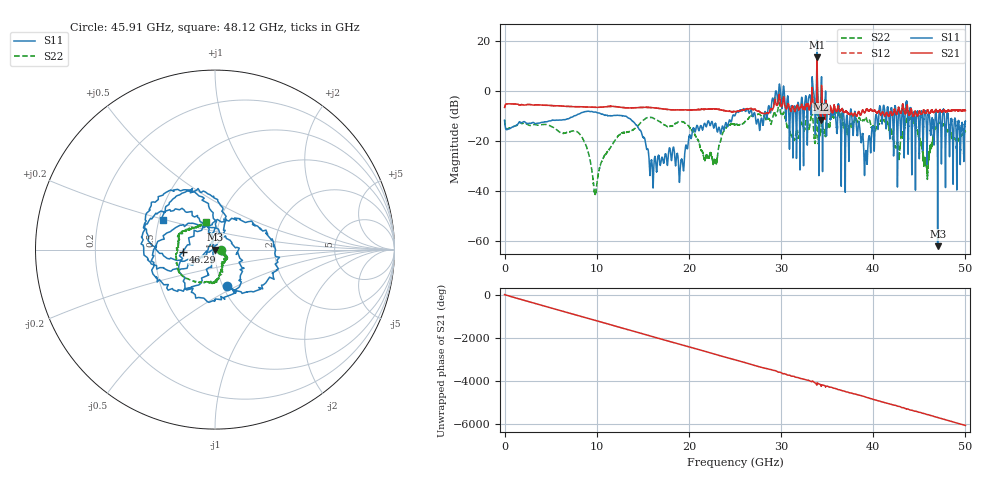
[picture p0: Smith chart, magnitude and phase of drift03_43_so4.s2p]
!Created with skrf (http://scikit-rf.org).
# Hz S RI R 50.0
!freq ReS11 ImS11 ReS21 ImS21 ReS12 ImS12 ReS22 ImS22
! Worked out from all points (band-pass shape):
!   10001 points, 300 kHz to 50 GHz, reference 50 ohm
!   highest |S21| = 13.63 dB at 33.9 GHz (marker M1); lowest = -11.4 dB at 34.32 GHz (marker M2)
!   |S21| within 3 dB of the highest: 33.89008 GHz to 33.90402 GHz (13.94 MHz wide, 0.0411 % of centre)
!   lowest |S11| = -62.0 dB at 46.99 GHz (marker M3), VSWR 1.00, Z = 49.9 - j0.0331 ohm
!   |S11| at or under -10 dB: start of sweep to 7.488 GHz; 13.13 GHz to 24.74 GHz (11.62 GHz wide, 61.3 % of centre); 38.09 GHz to 40.26 GHz (2.166 GHz wide, 5.53 % of centre) (the widest 3 of 47)
!   |S22| runs from -41.3 to 6.1 dB; largest |S21 - S12| = 0.36
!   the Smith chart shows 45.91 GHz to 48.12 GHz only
!   S11 on the Smith chart (normalised r, x): 45.91 GHz: 1.05, -0.44; 46.29 GHz: 0.70, -0.02; 48.12 GHz: 0.52, +0.20
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300000  -0.2336 -0.1201  0.4656 0.0796  0.4648 0.0796  -0.2353 -0.1256
1.440291e9  0.2099 0.0647  -0.5479 -0.0291  -0.5477 -0.0292  0.2112 -0.00446
2.915283e9  -0.2121 -0.0879  0.5346 0.0517  0.5345 0.0511  -0.2021 0.0403
4.415274e9  0.2061 0.1319  -0.5218 -0.0421  -0.5218 -0.0421  0.1982 -0.0874
8.33525e9  0.2887 -0.2333  0.1463 0.4661  0.146 0.4662  -0.0727 -0.1011
9.845241e9  -0.3635 0.1289  -0.1481 -0.4522  -0.1484 -0.4522  0.00842 0.00222
1.115523e10  0.3172 0.082  -0.0441 0.4905  -0.0426 0.4908  -0.0477 0.0382
1.66702e10  0.0271 0.0439  -0.3777 0.2527  -0.3786 0.2533  -0.1275 -0.2196
2.500015e10  -0.3263 -0.0145  -0.2546 -0.2964  -0.2535 -0.2981  -0.2128 0.0275
2.895013e10  -0.3242 0.4207  -0.2925 0.3239  -0.3037 0.2869  0.0619 0.2191
3.006512e10  0.3989 0.2664  0.4505 -0.1971  0.4548 -0.1822  0.1748 -0.2966
3.171011e10  -0.093 0.1887  -0.3603 0.3573  -0.3615 0.3532  0.0651 0.1587
3.33351e10  0.6243 -0.8047  0.2536 -0.84  0.2535 -0.8221  -0.1901 -0.42
3.38951e10  -2.958 -9.95  -4.692 1.018  -4.386 1.208  0.603 1.917
3.432009e10  -0.7792 -0.00238  -0.1798 0.2005  -0.2412 0.1795  0.1424 -0.0737
3.919506e10  0.0614 0.0139  0.2039 -0.3575  0.2084 -0.3531  -0.2707 -0.1213
4.167005e10  -0.2011 0.3038  0.3147 0.00299  0.3142 0.00952  -0.19 -0.011
4.590502e10  0.0654 -0.2013  -0.3577 -0.2213  -0.3565 -0.2199  0.0357 -0.00126
4.628502e10  -0.1784 -0.0112  -0.3787 0.1382  -0.3804 0.1373  0.0695 -0.046
4.699002e10  -0.000719 -0.000332  0.0965 0.3714  0.0963 0.3726  -0.1274 -0.1741
4.811501e10  -0.2919 0.1664  0.1993 -0.3583  0.2014 -0.3611  -0.0525 0.1537
5e10  -0.1179 -0.2215  0.1432 0.3853  0.1415 0.3847  -0.0531 -0.1434
